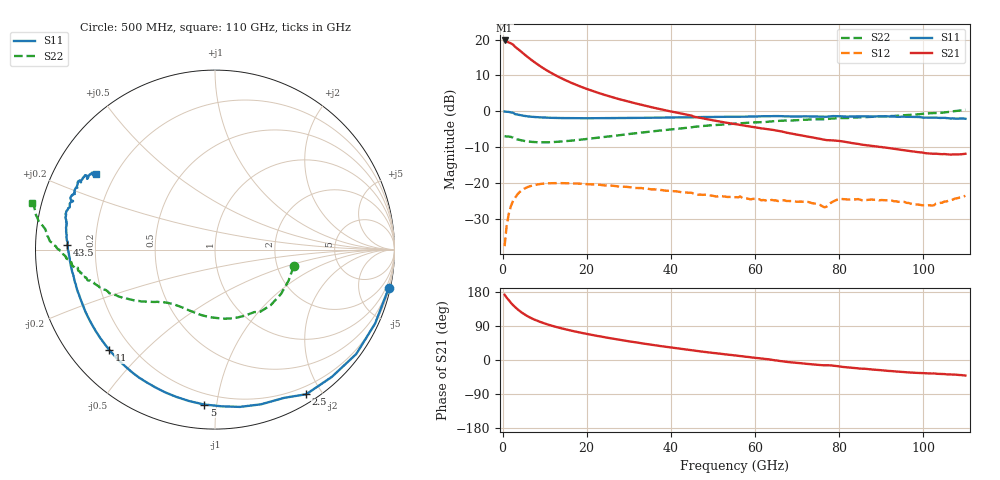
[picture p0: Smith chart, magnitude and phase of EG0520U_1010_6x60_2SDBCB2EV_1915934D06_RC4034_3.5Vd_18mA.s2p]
!File name = EG0520U_1010_6x60_2SDBCB2EV_1915934D06_RC4034_3.5Vd_18mA.s2p
!Base file name = EG0520U_1010_6x60_2SDBCB2EV_1915934D06_RC4034
!Date = 8/23/2019
!Time = 12:58 PM
!Test duration(min) = 0.15
!Test = S-Parameters
!MPTS version = 8.91.5
!State File = C:\Data\PNA\20190821205423\S-Parameters_2019-08-23.sta
!Cal File =
!ComputerName = CMPE-LAB-6
!Comments =
!Attenuation = 0
!Z0 = 50
!Input Power(dBm) = -13.00
!Device ID = EG0520U_1010_6x60_2SDBCB2EV
!Row = 40
!Column = 34
!Technology = QPHT09
!Lot/Wafer = 1915934D06
!Gate Size = 360
!Mask = EG0520
!Cal Standards = GaAs BCB
!Cal Kit = EG2306
!Job Number = 20190821205423
!Device Type = FET
!set_Vg(v) = -1.500
!set_Vd(v) = 3.500
!set_Vd(mA) = 18.000
!file_name = EG0520U_1010_6x60_2SDBCB2EV_1915934D06_RC4034_3.5Vd_18mA.s2p
!Vd(V) = 3.500
!Vd(mA) = 17.736
!Vg(V) = -0.644
!Vg(mA) = -0.007
# GHz  S  DB  R  50
!%	Freq(GHz)  s11(dB)  s11(deg)  s21(dB)  s21(deg)  s12(dB)  s12(deg)  s22(dB)  s22(deg)
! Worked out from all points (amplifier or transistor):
!   220 points, 500 MHz to 110 GHz, reference 50 ohm
!   highest |S21| = 19.8 dB at 500 MHz (marker M1)
!   |S21| within 3 dB of that: start of sweep to 4.297 GHz
!   unconditionally stable (mu >= 1): 37.14 GHz to 101.4 GHz
!   at 18.5 GHz: K = 0.49, MSG = 13.5 dB, |S12| = -20.2 dB
!   at 55.5 GHz: K = 1.41, MAG = 6.4 dB, |S12| = -24.0 dB
!   at 110 GHz: K = -1.99, MSG = 5.9 dB, |S12| = -23.6 dB
!   S11 on the Smith chart (normalised r, x): 500 MHz: 0.36, -9.14; 2.5 GHz: 0.10, -1.81; 5 GHz: 0.13, -0.92; 11 GHz: 0.12, -0.39; 43.5 GHz: 0.10, +0.02; 110 GHz: 0.13, +0.29
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0.5  -0.07 -12.5  19.75 172.1  -37.65 81.1  -6.97 -11.9
1  -0.15 -24.7  19.46 164.3  -31.82 74.9  -7.04 -23.1
2  -0.33 -47.4  18.95 150.8  -26.46 62.0  -7.16 -44.9
2.5  -0.42 -57.8  18.59 144.8  -25.00 56.6  -7.37 -54.1
3  -0.80 -64.9  17.97 139.5  -24.12 52.2  -7.72 -57.9
3.5  -0.92 -73.4  17.53 134.6  -23.28 47.8  -7.86 -65.2
4.5  -1.17 -87.8  16.55 125.7  -22.12 40.2  -8.11 -78.0
5  -1.26 -94.0  16.06 122.0  -21.72 37.0  -8.23 -83.3
6  -1.43 -104.8  15.11 115.3  -21.15 31.5  -8.44 -92.5
7.5  -1.60 -117.4  13.76 107.0  -20.62 25.0  -8.59 -103.0
9  -1.71 -126.8  12.53 100.4  -20.30 20.0  -8.67 -110.2
11  -1.81 -136.6  11.07 92.8  -20.10 14.6  -8.65 -117.7
14.5  -1.91 -148.5  8.92 82.2  -20.06 7.8  -8.40 -126.3
19  -1.95 -158.4  6.67 71.1  -20.23 1.5  -7.88 -133.0
27  -1.91 -169.2  3.61 54.9  -20.89 -5.5  -6.78 -140.6
37  -1.79 -177.6  0.70 37.6  -21.88 -9.8  -5.44 -148.2
43.5  -1.70 178.1  -0.88 27.7  -22.68 -11.7  -4.67 -152.9
55.5  -1.53 170.9  -3.62 11.7  -23.97 -12.7  -3.42 -161.5
73.5  -1.48 161.7  -7.27 -11.4  -25.62 -17.3  -2.26 -171.3
92  -1.45 153.1  -10.30 -28.9  -24.93 -26.1  -1.35 -179.3
102  -1.78 150.0  -11.85 -35.7  -26.33 -23.1  -0.55 174.7
110  -2.10 147.7  -11.87 -41.0  -23.59 -22.3  0.44 165.7
